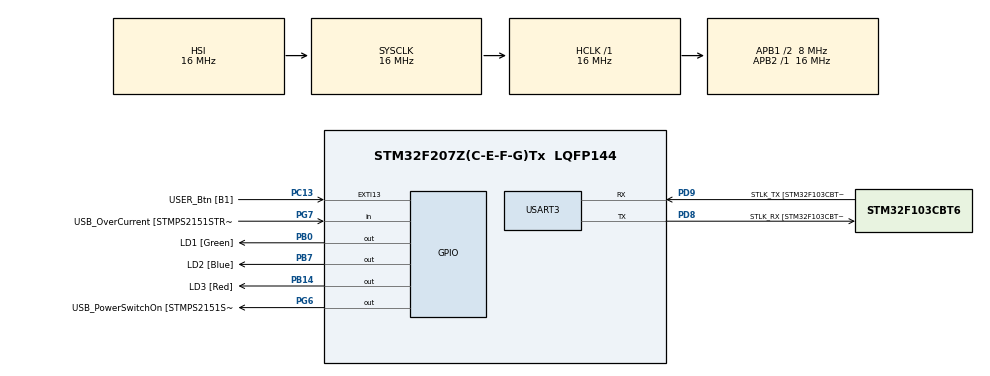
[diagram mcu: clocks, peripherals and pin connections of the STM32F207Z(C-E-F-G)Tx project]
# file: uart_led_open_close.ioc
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Dma.Request0=USART3_RX
Dma.USART3_RX.0.Direction=DMA_PERIPH_TO_MEMORY
Dma.USART3_RX.0.FIFOMode=DMA_FIFOMODE_DISABLE
Dma.USART3_RX.0.Instance=DMA1_Stream1
Dma.USART3_RX.0.MemDataAlignment=DMA_MDATAALIGN_BYTE
Dma.USART3_RX.0.MemInc=DMA_MINC_ENABLE
Dma.USART3_RX.0.Mode=DMA_CIRCULAR
Dma.USART3_RX.0.PeriphDataAlignment=DMA_PDATAALIGN_BYTE
Dma.USART3_RX.0.PeriphInc=DMA_PINC_DISABLE
Dma.USART3_RX.0.Priority=DMA_PRIORITY_LOW
Mcu.Family=STM32F2
Mcu.Name=STM32F207Z(C-E-F-G)Tx
Mcu.Package=LQFP144
NVIC.DMA1_Stream1_IRQn=true\:0\:0\:false\:false\:true\:false\:true\:true
NVIC.PriorityGroup=NVIC_PRIORITYGROUP_4
NVIC.USART3_IRQn=true\:0\:0\:false\:false\:true\:true\:true\:true
PA1.GPIO_Label=RMII_REF_CLK [LAN8742A-CZ-TR_REFCLK0]
PA1.Signal=ETH_REF_CLK
PA10.GPIO_Label=USB_ID
PA10.Signal=USB_OTG_FS_ID
PA11.GPIO_Label=USB_DM
PA11.Signal=USB_OTG_FS_DM
PA12.GPIO_Label=USB_DP
PA12.Signal=USB_OTG_FS_DP
PA13.GPIO_Label=TMS
PA13.Signal=SYS_JTMS-SWDIO
PA14.GPIO_Label=TCK
PA14.Signal=SYS_JTCK-SWCLK
PA2.GPIO_Label=RMII_MDIO [LAN8742A-CZ-TR_MDIO]
PA2.Signal=ETH_MDIO
PA7.GPIO_Label=RMII_CRS_DV [LAN8742A-CZ-TR_CRS_DV]
PA7.Signal=ETH_CRS_DV
PA8.GPIO_Label=USB_SOF [TP1]
PA8.Signal=USB_OTG_FS_SOF
PA9.GPIO_Label=USB_VBUS
PA9.Signal=USB_OTG_FS_VBUS
PB0.GPIO_Label=LD1 [Green]
PB0.Signal=GPIO_Output
PB13.GPIO_Label=RMII_TXD1 [LAN8742A-CZ-TR_TXD1]
PB13.Signal=ETH_TXD1
PB14.GPIO_Label=LD3 [Red]
PB14.Signal=GPIO_Output
PB3.GPIO_Label=SWO
PB3.Signal=SYS_JTDO-SWO
PB7.GPIO_Label=LD2 [Blue]
PB7.Signal=GPIO_Output
PC1.GPIO_Label=RMII_MDC [LAN8742A-CZ-TR_MDC]
PC1.Signal=ETH_MDC
PC13.GPIO_Label=USER_Btn [B1]
PC13.Signal=GPXTI13
PC14-OSC32_IN.Signal=RCC_OSC32_IN
PC15-OSC32_OUT.Signal=RCC_OSC32_OUT
PC4.GPIO_Label=RMII_RXD0 [LAN8742A-CZ-TR_RXD0]
PC4.Signal=ETH_RXD0
PC5.GPIO_Label=RMII_RXD1 [LAN8742A-CZ-TR_RXD1]
PC5.Signal=ETH_RXD1
PD8.GPIO_Label=STLK_RX [STM32F103CBT6_PA3]
PD8.Mode=Asynchronous
PD8.Signal=USART3_TX
PD9.GPIO_Label=STLK_TX [STM32F103CBT6_PA2]
PD9.Mode=Asynchronous
PD9.Signal=USART3_RX
PG11.GPIO_Label=RMII_TX_EN [LAN8742A-CZ-TR_TXEN]
PG11.Signal=ETH_TX_EN
PG13.GPIO_Label=RMII_TXD0 [LAN8742A-CZ-TR_TXD0]
PG13.Signal=ETH_TXD0
PG6.GPIO_Label=USB_PowerSwitchOn [STMPS2151STR_EN]
PG6.Signal=GPIO_Output
PG7.GPIO_Label=USB_OverCurrent [STMPS2151STR_FAULT]
PG7.Signal=GPIO_Input
PH0-OSC_IN.GPIO_Label=MCO [STM32F103CBT6_PA8]
PH0-OSC_IN.Signal=RCC_OSC_IN
PH1-OSC_OUT.Signal=RCC_OSC_OUT
ProjectManager.HeapSize=0x200
ProjectManager.StackSize=0x400
ProjectManager.TargetToolchain=STM32CubeIDE
RCC.48MHZClocksFreq_Value=48000000
RCC.AHBFreq_Value=16000000
RCC.APB1CLKDivider=RCC_HCLK_DIV2
RCC.APB1Freq_Value=8000000
RCC.APB1TimFreq_Value=16000000
RCC.APB2Freq_Value=16000000
RCC.APB2TimFreq_Value=16000000
RCC.CortexFreq_Value=16000000
RCC.HCLKFreq_Value=16000000
RCC.HSE_VALUE=8000000
RCC.HSI_VALUE=16000000
RCC.LSE_VALUE=32768
RCC.PLLMUL=RCC_PLL_MUL9
RCC.PRESCALERUSB=RCC_USBCLKSOURCE_PLL_DIV1_5
RCC.SYSCLKFreq_VALUE=16000000
RCC.SYSCLKSourceVirtual=RCC_SYSCLKSOURCE_PLLCLK
RCC.USBFreq_Value=48000000
RCC.VCOOutputFreq_Value=192000000
USART3.VirtualMode=VM_ASYNC
board=NUCLEO-F207ZG

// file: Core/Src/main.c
/* USER CODE BEGIN Header */
/**
  ******************************************************************************
  * @file           : main.c
  * @brief          : Main program body
  ******************************************************************************
  * @attention
  *
  * Copyright (c) 2023 STMicroelectronics.
  * All rights reserved.
  *
  * This software is licensed under terms that can be found in the LICENSE file
  * in the root directory of this software component.
  * If no LICENSE file comes with this software, it is provided AS-IS.
  *
  ******************************************************************************
  */
/* USER CODE END Header */
#include "main.h"

UART_HandleTypeDef huart3;
DMA_HandleTypeDef hdma_usart3_rx;

/* USER CODE BEGIN PV */
static int index = 0;
static char data[50];
uint8_t msg[10] = "Red Opened\r\n";
uint8_t msg2[10] = "Red Closed\r\n";
uint8_t msg3[11] = "Blue Opened\r\n";
uint8_t msg4[11] = "Blue Closed\r\n";
uint8_t ron[3] = "RON";
uint8_t roff[4] = "ROFF";
uint8_t bon[3] = "BON";
uint8_t boff[4] = "BOFF";

/* USER CODE END PV */

void SystemClock_Config(void);
static void MX_GPIO_Init(void);
static void MX_DMA_Init(void);
static void MX_USART3_UART_Init(void);

/* USER CODE BEGIN 0 */
void HAL_UART_RxCpltCallback(UART_HandleTypeDef *huart)
{
	if (huart == &huart3)
	{
		if (data[index] != '\r' && data[0] != '\n')
		{
			index++;
			HAL_UART_Receive_IT(&huart3, (uint8_t *)&data[index], 1);
		}
		else
		{
			index = index + 2;
			index = 0;
			if (strncmp(roff, data, sizeof(roff)) == 0)
			{
				HAL_GPIO_WritePin(GPIOB, GPIO_PIN_14, GPIO_PIN_RESET);
				HAL_UART_Transmit(&huart3, msg2, sizeof(msg2), 10);
			}
			else if (strncmp(ron, data, sizeof(ron)) == 0)
			{
				HAL_GPIO_WritePin(GPIOB, GPIO_PIN_14, GPIO_PIN_SET);
				HAL_UART_Transmit(&huart3, msg, sizeof(msg), 10);
			}
			else if (strncmp(boff, data,sizeof(boff)) == 0)
			{
				HAL_GPIO_WritePin(GPIOB, GPIO_PIN_7, GPIO_PIN_RESET);
				HAL_UART_Transmit(&huart3, msg4, sizeof(msg4), 10);
			}
			else if (strncmp(bon, data, sizeof(bon)) == 0)
			{
				HAL_GPIO_WritePin(GPIOB, GPIO_PIN_7, GPIO_PIN_SET);
				HAL_UART_Transmit(&huart3, msg3, sizeof(msg3), 10);
			}
		}
		HAL_UART_Receive_IT(&huart3, (uint8_t *)&data[index], 1);
	}
}

/* USER CODE END 0 */

int main(void)
{

  /* MCU Configuration--------------------------------------------------------*/

  /* Reset of all peripherals, Initializes the Flash interface and the Systick. */
  HAL_Init();

  /* Configure the system clock */
  SystemClock_Config();

  /* Initialize all configured peripherals */
  MX_GPIO_Init();
  MX_DMA_Init();
  MX_USART3_UART_Init();
  /* USER CODE BEGIN 2 */
HAL_UART_Receive_IT(&huart3, (uint8_t *)&data[index], 1);
//HAL_UARTEx_ReceiveToIdle_IT(&huart3, (uint8_t *)data, sizeof(data));

  /* USER CODE END 2 */

  /* Infinite loop */
  while (1)
  {

  }
}

void SystemClock_Config(void)
{
  RCC_OscInitTypeDef RCC_OscInitStruct = {0};
  RCC_ClkInitTypeDef RCC_ClkInitStruct = {0};

  /** Initializes the RCC Oscillators according to the specified parameters
  * in the RCC_OscInitTypeDef structure.
  */
  RCC_OscInitStruct.OscillatorType = RCC_OSCILLATORTYPE_HSI;
  RCC_OscInitStruct.HSIState = RCC_HSI_ON;
  RCC_OscInitStruct.HSICalibrationValue = RCC_HSICALIBRATION_DEFAULT;
  RCC_OscInitStruct.PLL.PLLState = RCC_PLL_NONE;
  if (HAL_RCC_OscConfig(&RCC_OscInitStruct) != HAL_OK)
  {
    Error_Handler();
  }

  /** Initializes the CPU, AHB and APB buses clocks
  */
  RCC_ClkInitStruct.ClockType = RCC_CLOCKTYPE_HCLK|RCC_CLOCKTYPE_SYSCLK
                              |RCC_CLOCKTYPE_PCLK1|RCC_CLOCKTYPE_PCLK2;
  RCC_ClkInitStruct.SYSCLKSource = RCC_SYSCLKSOURCE_HSI;
  RCC_ClkInitStruct.AHBCLKDivider = RCC_SYSCLK_DIV1;
  RCC_ClkInitStruct.APB1CLKDivider = RCC_HCLK_DIV2;
  RCC_ClkInitStruct.APB2CLKDivider = RCC_HCLK_DIV1;

  if (HAL_RCC_ClockConfig(&RCC_ClkInitStruct, FLASH_LATENCY_0) != HAL_OK)
  {
    Error_Handler();
  }
}

static void MX_USART3_UART_Init(void)
{

  huart3.Instance = USART3;
  huart3.Init.BaudRate = 115200;
  huart3.Init.WordLength = UART_WORDLENGTH_8B;
  huart3.Init.StopBits = UART_STOPBITS_1;
  huart3.Init.Parity = UART_PARITY_NONE;
  huart3.Init.Mode = UART_MODE_TX_RX;
  huart3.Init.HwFlowCtl = UART_HWCONTROL_NONE;
  huart3.Init.OverSampling = UART_OVERSAMPLING_16;
  if (HAL_UART_Init(&huart3) != HAL_OK)
  {
    Error_Handler();
  }

}

static void MX_DMA_Init(void)
{

  /* DMA controller clock enable */
  __HAL_RCC_DMA1_CLK_ENABLE();

  /* DMA interrupt init */
  /* DMA1_Stream1_IRQn interrupt configuration */
  HAL_NVIC_SetPriority(DMA1_Stream1_IRQn, 0, 0);
  HAL_NVIC_EnableIRQ(DMA1_Stream1_IRQn);

}

static void MX_GPIO_Init(void)
{
  GPIO_InitTypeDef GPIO_InitStruct = {0};

  /* GPIO Ports Clock Enable */
  __HAL_RCC_GPIOC_CLK_ENABLE();
  __HAL_RCC_GPIOH_CLK_ENABLE();
  __HAL_RCC_GPIOA_CLK_ENABLE();
  __HAL_RCC_GPIOB_CLK_ENABLE();
  __HAL_RCC_GPIOD_CLK_ENABLE();
  __HAL_RCC_GPIOG_CLK_ENABLE();

  /*Configure GPIO pin Output Level */
  HAL_GPIO_WritePin(GPIOB, LD1_Pin|LD3_Pin|LD2_Pin, GPIO_PIN_RESET);

  /*Configure GPIO pin Output Level */
  HAL_GPIO_WritePin(USB_PowerSwitchOn_GPIO_Port, USB_PowerSwitchOn_Pin, GPIO_PIN_RESET);

  /*Configure GPIO pin : USER_Btn_Pin */
  GPIO_InitStruct.Pin = USER_Btn_Pin;
  GPIO_InitStruct.Mode = GPIO_MODE_IT_RISING;
  GPIO_InitStruct.Pull = GPIO_NOPULL;
  HAL_GPIO_Init(USER_Btn_GPIO_Port, &GPIO_InitStruct);

  /*Configure GPIO pins : RMII_MDC_Pin RMII_RXD0_Pin RMII_RXD1_Pin */
  GPIO_InitStruct.Pin = RMII_MDC_Pin|RMII_RXD0_Pin|RMII_RXD1_Pin;
  GPIO_InitStruct.Mode = GPIO_MODE_AF_PP;
  GPIO_InitStruct.Pull = GPIO_NOPULL;
  GPIO_InitStruct.Speed = GPIO_SPEED_FREQ_VERY_HIGH;
  GPIO_InitStruct.Alternate = GPIO_AF11_ETH;
  HAL_GPIO_Init(GPIOC, &GPIO_InitStruct);

  /*Configure GPIO pins : RMII_REF_CLK_Pin RMII_MDIO_Pin RMII_CRS_DV_Pin */
  GPIO_InitStruct.Pin = RMII_REF_CLK_Pin|RMII_MDIO_Pin|RMII_CRS_DV_Pin;
  GPIO_InitStruct.Mode = GPIO_MODE_AF_PP;
  GPIO_InitStruct.Pull = GPIO_NOPULL;
  GPIO_InitStruct.Speed = GPIO_SPEED_FREQ_VERY_HIGH;
  GPIO_InitStruct.Alternate = GPIO_AF11_ETH;
  HAL_GPIO_Init(GPIOA, &GPIO_InitStruct);

  /*Configure GPIO pins : LD1_Pin LD3_Pin LD2_Pin */
  GPIO_InitStruct.Pin = LD1_Pin|LD3_Pin|LD2_Pin;
  GPIO_InitStruct.Mode = GPIO_MODE_OUTPUT_PP;
  GPIO_InitStruct.Pull = GPIO_NOPULL;
  GPIO_InitStruct.Speed = GPIO_SPEED_FREQ_LOW;
  HAL_GPIO_Init(GPIOB, &GPIO_InitStruct);

  /*Configure GPIO pin : RMII_TXD1_Pin */
  GPIO_InitStruct.Pin = RMII_TXD1_Pin;
  GPIO_InitStruct.Mode = GPIO_MODE_AF_PP;
  GPIO_InitStruct.Pull = GPIO_NOPULL;
  GPIO_InitStruct.Speed = GPIO_SPEED_FREQ_VERY_HIGH;
  GPIO_InitStruct.Alternate = GPIO_AF11_ETH;
  HAL_GPIO_Init(RMII_TXD1_GPIO_Port, &GPIO_InitStruct);

  /*Configure GPIO pin : USB_PowerSwitchOn_Pin */
  GPIO_InitStruct.Pin = USB_PowerSwitchOn_Pin;
  GPIO_InitStruct.Mode = GPIO_MODE_OUTPUT_PP;
  GPIO_InitStruct.Pull = GPIO_NOPULL;
  GPIO_InitStruct.Speed = GPIO_SPEED_FREQ_LOW;
  HAL_GPIO_Init(USB_PowerSwitchOn_GPIO_Port, &GPIO_InitStruct);

  /*Configure GPIO pin : USB_OverCurrent_Pin */
  GPIO_InitStruct.Pin = USB_OverCurrent_Pin;
  GPIO_InitStruct.Mode = GPIO_MODE_INPUT;
  GPIO_InitStruct.Pull = GPIO_NOPULL;
  HAL_GPIO_Init(USB_OverCurrent_GPIO_Port, &GPIO_InitStruct);

  /*Configure GPIO pins : USB_SOF_Pin USB_ID_Pin USB_DM_Pin USB_DP_Pin */
  GPIO_InitStruct.Pin = USB_SOF_Pin|USB_ID_Pin|USB_DM_Pin|USB_DP_Pin;
  GPIO_InitStruct.Mode = GPIO_MODE_AF_PP;
  GPIO_InitStruct.Pull = GPIO_NOPULL;
  GPIO_InitStruct.Speed = GPIO_SPEED_FREQ_VERY_HIGH;
  GPIO_InitStruct.Alternate = GPIO_AF10_OTG_FS;
  HAL_GPIO_Init(GPIOA, &GPIO_InitStruct);

  /*Configure GPIO pin : USB_VBUS_Pin */
  GPIO_InitStruct.Pin = USB_VBUS_Pin;
  GPIO_InitStruct.Mode = GPIO_MODE_INPUT;
  GPIO_InitStruct.Pull = GPIO_NOPULL;
  HAL_GPIO_Init(USB_VBUS_GPIO_Port, &GPIO_InitStruct);

  /*Configure GPIO pins : RMII_TX_EN_Pin RMII_TXD0_Pin */
  GPIO_InitStruct.Pin = RMII_TX_EN_Pin|RMII_TXD0_Pin;
  GPIO_InitStruct.Mode = GPIO_MODE_AF_PP;
  GPIO_InitStruct.Pull = GPIO_NOPULL;
  GPIO_InitStruct.Speed = GPIO_SPEED_FREQ_VERY_HIGH;
  GPIO_InitStruct.Alternate = GPIO_AF11_ETH;
  HAL_GPIO_Init(GPIOG, &GPIO_InitStruct);

}

void Error_Handler(void)
{
  __disable_irq();
  while (1)
  {
  }
}
